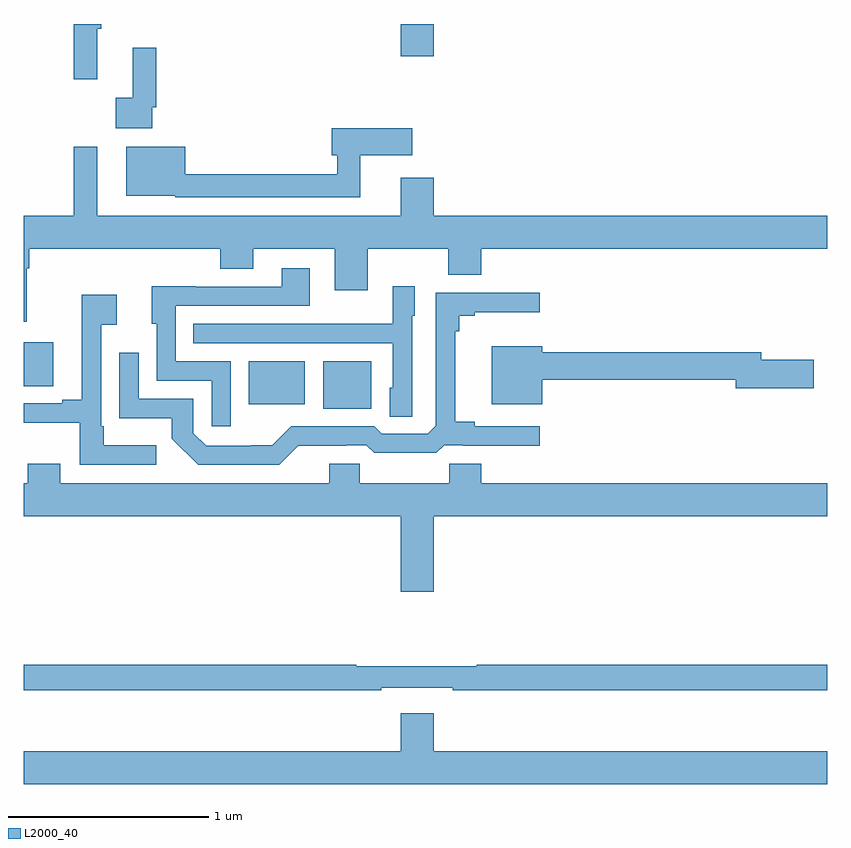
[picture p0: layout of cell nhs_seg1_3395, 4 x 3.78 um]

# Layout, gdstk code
import gdstk
lib = gdstk.Library(unit=1e-6, precision=1e-09)
def R(c, l, rs):  # rectangles x0, y0, x1, y1
    for r in rs: c.add(gdstk.rectangle(r[:2], r[2:], *l))
def P(c, l, *ps):  # polygons
    for p in ps: c.add(gdstk.Polygon(p, *l))
L2000_40 = (2000, 40)

nhs_seg1_3395 = lib.new_cell('nhs_seg1_3395')
R(nhs_seg1_3395, L2000_40, [(296.492,536.285,296.731,536.521), (296.12,536.306,296.398,536.521), (295,536.395,295.147,536.614), (296.876,538.038,297.04,538.199)])
P(nhs_seg1_3395, L2000_40, [(295.367,538.176),(295.385,538.176),(295.385,538.199),(295.249,538.199),(295.249,537.924),(295.367,537.924)],
  [(295.641,537.784),(295.661,537.784),(295.661,538.081),(295.544,538.081),(295.544,537.833),(295.458,537.833),(295.458,537.68),(295.641,537.68)],
  [(296.675,537.545),(296.935,537.545),(296.935,537.68),(296.534,537.68),(296.534,537.545),(296.561,537.545),(296.561,537.452),(295.804,537.452),(295.804,537.589),(295.511,537.589),(295.511,537.344),(295.755,537.344),(295.755,537.336),(296.675,537.336)],
  [(295.015,536.984),(295.028,536.984),(295.028,537.08),(295.979,537.08),(295.979,536.981),(296.143,536.981),(296.143,537.08),(296.549,537.08),(296.549,536.874),(296.713,536.874),(296.713,537.08),(297.113,537.08),(297.113,536.952),(297.277,536.952),(297.277,537.08),(299,537.08),(299,537.244),(297.04,537.244),(297.04,537.433),(296.876,537.433),(296.876,537.244),(295.366,537.244),(295.366,537.589),(295.249,537.589),(295.249,537.244),(295,537.244),(295,536.718),(295.015,536.718)],
  [(296.031,536.52),(295.758,536.52),(295.758,536.796),(296.425,536.796),(296.425,536.983),(296.285,536.983),(296.285,536.892),(295.855,536.892),(295.855,536.894),(295.637,536.894),(295.637,536.706),(295.662,536.706),(295.662,536.424),(295.935,536.424),(295.935,536.196),(296.031,536.196)],
  [(296.934,536.748),(296.947,536.748),(296.947,536.893),(296.838,536.893),(296.838,536.707),(296.521,536.707),(296.521,536.706),(295.843,536.706),(295.843,536.61),(296.838,536.61),(296.838,536.388),(296.822,536.388),(296.822,536.245),(296.934,536.245)],
  [(296.366,536.099),(296.606,536.099),(296.606,536.103),(296.706,536.103),(296.746,536.064),(297.053,536.064),(297.093,536.103),(297.187,536.103),(297.187,536.099),(297.568,536.099),(297.568,536.196),(297.244,536.196),(297.244,536.219),(297.149,536.219),(297.149,536.669),(297.167,536.669),(297.167,536.746),(297.244,536.746),(297.244,536.765),(297.568,536.765),(297.568,536.862),(297.051,536.862),(297.051,536.199),(297.012,536.16),(296.781,536.16),(296.745,536.196),(296.331,536.196),(296.237,536.102),(296.132,536.102),(296.132,536.1),(295.908,536.1),(295.845,536.163),(295.845,536.334),(295.572,536.334),(295.572,536.563),(295.476,536.563),(295.476,536.237),(295.738,536.237),(295.738,536.135),(295.868,536.004),(296.271,536.004)],
  [(295.66,536.101),(295.399,536.101),(295.399,536.197),(295.386,536.197),(295.386,536.702),(295.462,536.702),(295.462,536.851),(295.289,536.851),(295.289,536.329),(295.193,536.329),(295.193,536.31),(295,536.31),(295,536.213),(295.278,536.213),(295.278,536.004),(295.66,536.004)],
  [(297.58,536.428),(298.544,536.428),(298.544,536.386),(298.933,536.386),(298.933,536.528),(298.672,536.528),(298.672,536.564),(297.58,536.564),(297.58,536.596),(297.329,536.596),(297.329,536.306),(297.58,536.306)],
  [(297.04,535.748),(299,535.748),(299,535.912),(297.278,535.912),(297.278,536.01),(297.118,536.01),(297.118,535.912),(296.673,535.912),(296.673,536.01),(296.522,536.01),(296.522,535.912),(295.183,535.912),(295.183,536.011),(295.019,536.011),(295.019,535.912),(295,535.912),(295,535.748),(296.876,535.748),(296.876,535.374),(297.04,535.374)],
  [(296.78,534.894),(297.136,534.894),(297.136,534.882),(299,534.882),(299,535.01),(297.256,535.01),(297.256,535.003),(296.656,535.003),(296.656,535.01),(295,535.01),(295,534.882),(296.78,534.882)],
  [(299,534.58),(297.04,534.58),(297.04,534.769),(296.876,534.769),(296.876,534.58),(295,534.58),(295,534.416),(299,534.416)])

lib.write_gds('nhs_seg1_3395.gds')
